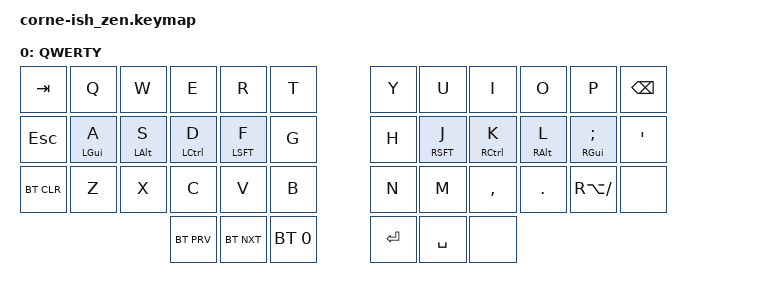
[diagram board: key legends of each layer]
/*
*
* Copyright (c) 2021 lowprokb.ca
* SPDX-License-Identifier: MIT
*
*/

#include <behaviors.dtsi>
#include <dt-bindings/zmk/keys.h>
#include <dt-bindings/zmk/bt.h>

#define QWERTY 0


#define KC_TAB &kp TAB

/ {
        behaviors {
            hm: homerow_mods {
                compatible = "zmk,behavior-hold-tap";
                label = "HOMEROW_MODS";
                #binding-cells = <2>;
                tapping-term-ms = <250>;
                quick_tap_ms = <0>;
                flavor = "tap-preferred";
                bindings = <&kp>, <&kp>;
            };
        };
        keymap {
                compatible = "zmk,keymap";

                default_layer {
                        label = "QWERTY";
                        bindings = < 
KC_TAB      &kp Q        &kp W        &kp E        &kp R        &kp T              &kp Y        &kp U        &kp I        &kp O        &kp P          &kp BKSP
&kp ESC      &hm LGUI A   &hm LALT S   &hm LCTL D   &hm LSFT F   &kp G              &kp H        &hm RSFT J   &hm RCTL K   &hm RALT L   &hm RGUI SEMI  &kp QUOT
&bt BT_CLR   &kp Z        &kp X        &kp C        &kp V        &kp B              &kp N        &kp M        &kp COMMA    &kp DOT      &kp RA(FSLH)   &none
                                          &bt BT_PRV   &bt BT_NXT   &bt BT_SEL 0    &kp ENTER    &kp SPC      &none
                        >;
                };
        };
};
